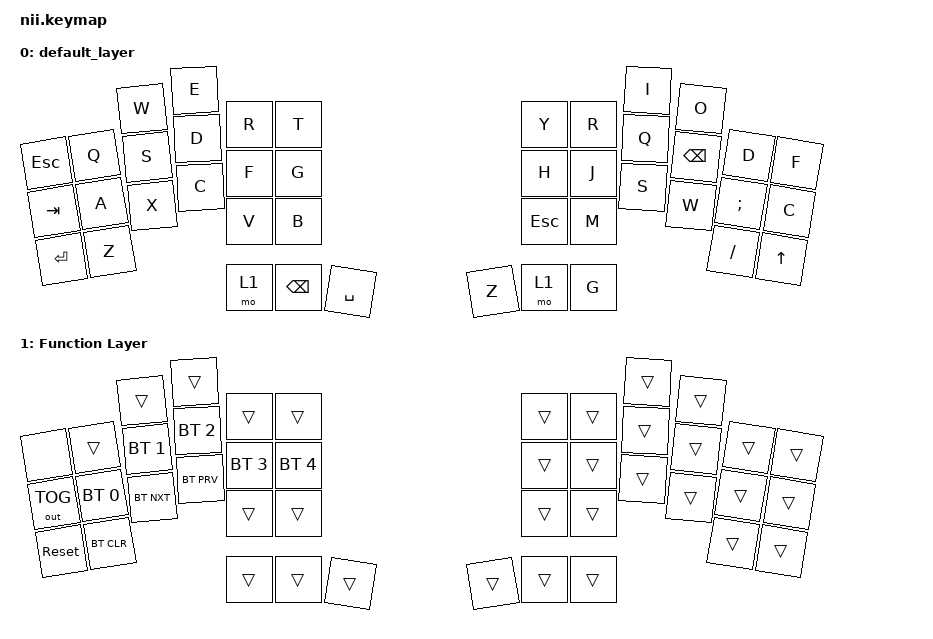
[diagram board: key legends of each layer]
// This file was generated from a template. Edit it to match your keyboard.
// See https://zmk.dev/docs/development/hardware-integration/new-shield for more instructions.

#include <behaviors.dtsi>
#include <dt-bindings/zmk/bt.h>
#include <dt-bindings/zmk/keys.h>
#include <dt-bindings/zmk/outputs.h>

// Define constants for layer names for readability (optional but good practice)

#define BASE 0
#define FUNC 1 // Function layer for BT controls, etc.

/ {
    keymap {
        compatible = "zmk,keymap";

        // Base Layer (Layer 0) - Your primary typing layer

        default_layer {
            bindings = <
&kp ESC    &kp Q  &kp W  &kp E  &kp R          &kp T        &kp Y    &kp R  &kp I  &kp O          &kp D     &kp F
&kp TAB    &kp A  &kp S  &kp D  &kp F          &kp G        &kp H    &kp J  &kp Q  &kp BACKSPACE  &kp SEMI  &kp C
&kp ENTER  &kp Z  &kp X  &kp C  &kp V          &kp B        &kp ESC  &kp M  &kp S  &kp W          &kp FSLH  &kp UP
                         &mo 1  &kp BACKSPACE  &kp SPACE    &kp Z    &mo 1  &kp G
            >;
        };

        // Function Layer (Layer 1) - Accessed by holding the MO(FUNC) key
        // BT controls primarily on the left half's second row for easier access

        layer_1 {
            display-name = "Function Layer"; // Optional label for display module
            bindings = <
&none         &trans        &trans        &trans        &trans        &trans          &trans  &trans  &trans  &trans  &trans  &trans
&out OUT_TOG  &bt BT_SEL 0  &bt BT_SEL 1  &bt BT_SEL 2  &bt BT_SEL 3  &bt BT_SEL 4    &trans  &trans  &trans  &trans  &trans  &trans
&sys_reset    &bt BT_CLR    &bt BT_NXT    &bt BT_PRV    &trans        &trans          &trans  &trans  &trans  &trans  &trans  &trans
                                          &trans        &trans        &trans          &trans  &trans  &trans
            >;
        };
    };
};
